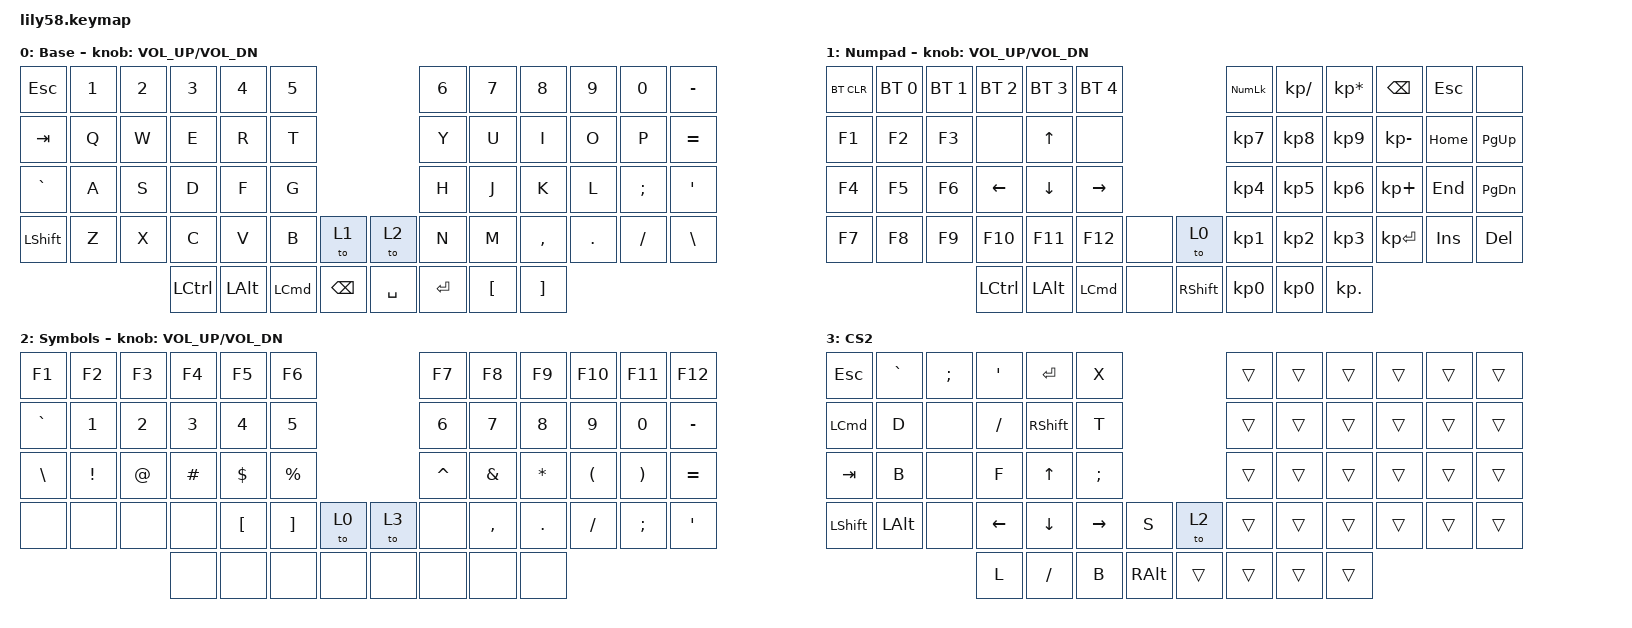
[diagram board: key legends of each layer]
/*
 * Copyright (c) 2020 The ZMK Contributors
 *
 * SPDX-License-Identifier: MIT
 */

#include <behaviors.dtsi>
#include <dt-bindings/zmk/bt.h>
#include <dt-bindings/zmk/keys.h>

/ {
    keymap {
        compatible = "zmk,keymap";

        Base {
            // ------------------------------------------------------------------------------------------------------------
            // |  ESC  |  1  |  2  |  3   |  4   |  5   |                   |  6   |  7    |  8    |  9   |   0   |   `   |
            // |  TAB  |  Q  |  W  |  E   |  R   |  T   |                   |  Y   |  U    |  I    |  O   |   P   |   -   |
            // |  CTRL |  A  |  S  |  D   |  F   |  G   |                   |  H   |  J    |  K    |  L   |   ;   |   '   |
            // | SHIFT |  Z  |  X  |  C   |  V   |  B   |   "["  |  |  "]"  |  N   |  M    |  ,    |  .   |   /   | SHIFT |
            //                     | ALT  | GUI  | LOWER|  SPACE |  | ENTER | RAISE| BSPC  | GUI   |

            label = "Base";
            bindings = <
&kp ESC    &kp N1  &kp N2  &kp N3            &kp N4        &kp N5                                        &kp N6     &kp N7            &kp N8             &kp N9   &kp N0    &kp MINUS
&kp TAB    &kp Q   &kp W   &kp E             &kp R         &kp T                                         &kp Y      &kp U             &kp I              &kp O    &kp P     &kp EQUAL
&kp GRAVE  &kp A   &kp S   &kp D             &kp F         &kp G                                         &kp H      &kp J             &kp K              &kp L    &kp SEMI  &kp SQT
&kp LSHFT  &kp Z   &kp X   &kp C             &kp V         &kp B             &to 1            &to 2      &kp N      &kp M             &kp COMMA          &kp DOT  &kp FSLH  &kp BACKSLASH
                           &kp LEFT_CONTROL  &kp LEFT_ALT  &kp LEFT_COMMAND  &kp BACKSPACE    &kp SPACE  &kp ENTER  &kp LEFT_BRACKET  &kp RIGHT_BRACKET
            >;

            sensor-bindings = <&inc_dec_kp C_VOL_UP C_VOL_DN>;
        };

        Numpad {
            // ------------------------------------------------------------------------------------------------------------
            // | BTCLR | BT1 | BT2 |  BT3 |  BT4 |  BT5 |                   |      |       |       |      |       |       |
            // |  F1   |  F2 |  F3 |  F4  |  F5  |  F6  |                   |  F7  |  F8   |  F9   |  F10 |  F11  |  F12  |
            // |   `   |  !  |  @  |  #   |  $   |  %   |                   |  ^   |  &    |  *    |  (   |   )   |   ~   |
            // |       |     |     |      |      |      |        |  |       |      |  _    |  +    |  {   |   }   |  "|"  |
            //                     |      |      |      |        |  |       |      |       |       |

            label = "Numpad";
            bindings = <
&bt BT_CLR  &bt BT_SEL 0  &bt BT_SEL 1  &bt BT_SEL 2      &bt BT_SEL 3  &bt BT_SEL 4                                &kp KP_NUM       &kp KP_DIVIDE    &kp KP_MULTIPLY  &kp BACKSPACE    &kp ESCAPE  &none
&kp F1      &kp F2        &kp F3        &none             &kp UP        &none                                       &kp KP_NUMBER_7  &kp KP_NUMBER_8  &kp KP_NUMBER_9  &kp KP_SUBTRACT  &kp HOME    &kp PG_UP
&kp F4      &kp F5        &kp F6        &kp LEFT          &kp DOWN      &kp RIGHT                                   &kp KP_NUMBER_4  &kp KP_NUMBER_5  &kp KP_NUMBER_6  &kp KP_PLUS      &kp END     &kp PG_DN
&kp F7      &kp F8        &kp F9        &kp F10           &kp F11       &kp F12           &none    &to 0            &kp KP_NUMBER_1  &kp KP_NUMBER_2  &kp KP_NUMBER_3  &kp KP_ENTER     &kp INS     &kp DELETE
                                        &kp LEFT_CONTROL  &kp LEFT_ALT  &kp LEFT_COMMAND  &none    &kp RIGHT_SHIFT  &kp KP_NUMBER_0  &kp KP_N0        &kp KP_DOT
            >;

            sensor-bindings = <&inc_dec_kp C_VOL_UP C_VOL_DN>;
        };

        Symbols {
            // ------------------------------------------------------------------------------------------------------------
            // |       |     |     |      |      |      |                   |      |       |       |      |       |       |
            // |   `   |  1  |  2  |  3   |  4   |  5   |                   |  6   |   7   |   8   |  9   |   0   |       |
            // |   F1  |  F2 |  F3 |  F4  |  F5  |  F6  |                   |      |   <-  |   v   |  ^   |  ->   |       |
            // |   F7  |  F8 |  F9 |  F10 |  F11 |  F12 |        |  |       |  +   |   -   |   =   |  [   |   ]   |   \   |
            //                     |      |      |      |        |  |       |      |       |       |

            label = "Symbols";
            bindings = <
&kp F1         &kp F2           &kp F3       &kp F4     &kp F5            &kp F6                             &kp F7     &kp F8         &kp F9        &kp F10               &kp F11                &kp F12
&kp GRAVE      &kp N1           &kp N2       &kp N3     &kp N4            &kp N5                             &kp N6     &kp N7         &kp N8        &kp N9                &kp N0                 &kp MINUS
&kp BACKSLASH  &kp EXCLAMATION  &kp AT_SIGN  &kp POUND  &kp DOLLAR        &kp PERCENT                        &kp CARET  &kp AMPERSAND  &kp ASTERISK  &kp LEFT_PARENTHESIS  &kp RIGHT_PARENTHESIS  &kp EQUAL
&none          &none            &none        &none      &kp LEFT_BRACKET  &kp RIGHT_BRACKET  &to 0    &to 3  &none      &kp COMMA      &kp PERIOD    &kp SLASH             &kp SEMICOLON          &kp SQT
                                             &none      &none             &none              &none    &none  &none      &none          &none
            >;

            sensor-bindings = <&inc_dec_kp C_VOL_UP C_VOL_DN>;
        };

        CS2 {
            label = "CS2";
            bindings = <
&kp ESCAPE      &kp GRAVE     &kp SEMICOLON  &kp SQT    &kp ENTER        &kp X                               &trans  &trans  &trans  &trans  &trans  &trans
&kp LCMD        &kp D         &none          &kp SLASH  &kp RIGHT_SHIFT  &kp T                               &trans  &trans  &trans  &trans  &trans  &trans
&kp TAB         &kp B         &none          &kp F      &kp UP           &kp SEMI                            &trans  &trans  &trans  &trans  &trans  &trans
&kp LEFT_SHIFT  &kp LEFT_ALT  &none          &kp LEFT   &kp DOWN         &kp RIGHT  &kp S            &to 2   &trans  &trans  &trans  &trans  &trans  &trans
                                             &kp L      &kp SLASH        &kp B      &kp RIGHT_ALT    &trans  &trans  &trans  &trans
            >;
        };
    };
};
